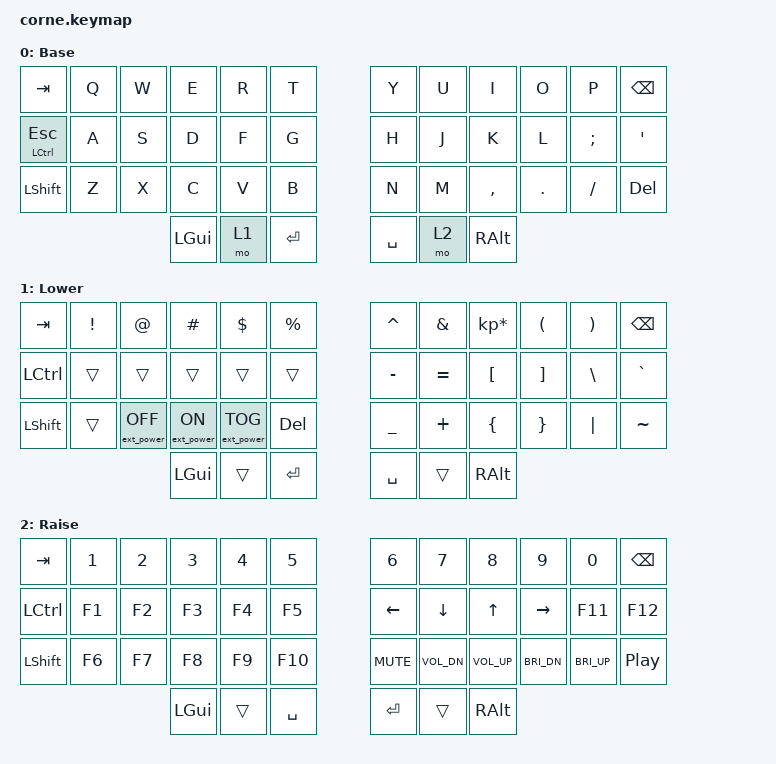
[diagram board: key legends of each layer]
/*
 * Copyright (c) 2020 The ZMK Contributors
 *
 * SPDX-License-Identifier: MIT
 */

#include <behaviors.dtsi>
#include <dt-bindings/zmk/keys.h>
// #include <dt-bindings/zmk/bt.h>
#include <dt-bindings/zmk/ext_power.h>

/ {
        keymap {
                compatible = "zmk,keymap";

                default_layer {
// -----------------------------------------------------------------------------------------
// | TAB  |  Q  |  W  |  E  |  R  |  T  |   |  Y  |  U   |  I  |  O  |  P  | BKSP |
// | CTRL |  A  |  S  |  D  |  F  |  G  |   |  H  |  J   |  K  |  L  |  ;  |  '   |
// | SHFT |  Z  |  X  |  C  |  V  |  B  |   |  N  |  M   |  ,  |  .  |  /  | ESC  |
//                    | GUI | LWR | ENT |   | SPC | RSE  | ALT |
                        display-name="Base";
                        bindings = <
   &kp TAB       &kp Q &kp W &kp E    &kp R &kp T      &kp Y     &kp U  &kp I     &kp O   &kp P    &kp BSPC
   &mt LCTRL ESC &kp A &kp S &kp D    &kp F &kp G      &kp H     &kp J  &kp K     &kp L   &kp SEMI &kp SQT
   &kp LSHFT     &kp Z &kp X &kp C    &kp V &kp B      &kp N     &kp M  &kp COMMA &kp DOT &kp FSLH &kp DEL
                             &kp LGUI &mo 1 &kp RET    &kp SPACE &mo 2  &kp RALT
                        >;
                };
                lower_layer {
// -----------------------------------------------------------------------------------------
// |  TAB |  !    |  @     |  #    |  $  |  %  |   |  ^  |  &  |  *  |  (  |  )  | BKSP |
// | CTRL | BT1   | BT2    | BT3   | BT4 | BT5 |   |  -  |  =  |  [  |  ]  |  \  |  `   |
// | SHFT | BTCLR | ExtOff | ExtOn |     | DEL |   |  _  |  +  |  {  |  }  | "|" |  ~   |
//                         | GUI   |     | ENT |   | SPC |     | ALT |
                        display-name="Lower";
                        bindings = <
   &kp TAB   &kp EXCL &kp AT &kp HASH &kp DLLR &kp PRCNT    &kp CARET  &kp AMPS      &kp KP_MULTIPLY &kp LPAR      &kp RPAR     &kp BSPC
   &kp LCTRL &trans &trans &trans &trans &trans    &kp MINUS &kp EQUAL &kp LBKT &kp RBKT &kp BSLH &kp GRAVE
   &kp LSHFT &trans &ext_power EP_OFF &ext_power EP_ON       &ext_power EP_TOG       &kp DEL       &kp UNDER &kp PLUS  &kp LBRC &kp RBRC &kp PIPE &kp TILDE
                                       &kp LGUI     &trans       &kp RET       &kp SPACE &trans    &kp RALT
                        >;
                };

                raise_layer {
// -----------------------------------------------------------------------------------------
// |  TAB |  1  |  2  |  3  |  4  |  5   |   |  6  |  7  |  8  |  9  |  0   |   BKSP  |
// | CTRL |  F1 | F2  | F3  | F4  | F5  |   | LFT | DWN  |  UP  | RGT | F11 | F12     |
// | SHFT |  F6 | F7  | F8  | F9  | F10 |   |MUTE |VOL_DN|VOL_UP|BG_D |BG_U |PlayPause|
//                    | GUI |     | ENT |   | SPC |      | ALT  |
                        display-name="Raise";
                        bindings = <
   &kp TAB   &kp N1       &kp N2       &kp N3       &kp N4       &kp N5        &kp N6    &kp N7    &kp N8   &kp N9   &kp N0   &kp BSPC
   &kp LCTRL &kp F1   &kp F2 &kp F3   &kp F4   &kp F5       &kp LEFT   &kp DOWN      &kp UP          &kp RIGHT     &kp F11      &kp F12
   &kp LSHFT &kp F6   &kp F7 &kp F8   &kp F9   &kp F10      &kp C_MUTE &kp C_VOL_DN  &kp C_VOL_UP    &kp C_BRI_DN  &kp C_BRI_UP &kp C_PLAY_PAUSE
                    	     &kp LGUI &trans   &kp SPACE    &kp RET    &trans        &kp RALT
                        >;
                };
        };
};
